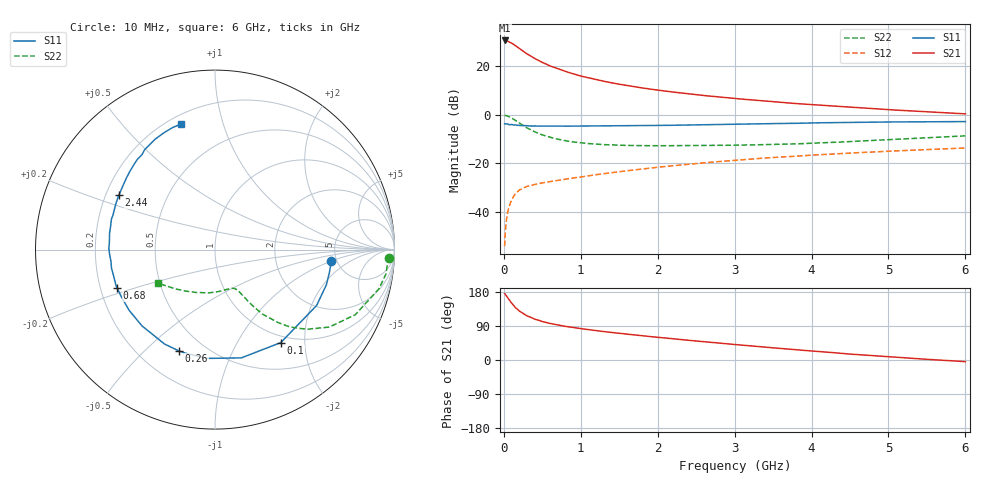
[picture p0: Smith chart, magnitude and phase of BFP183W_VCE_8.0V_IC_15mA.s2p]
! Infineon Technologies  Discrete & RF Semiconductors
! BFP183W
! VCE = 8.0 V,  IC =  15 mA
! Common Emitter S-Parameters:  Jan 2016
# GHz  S  MA  R  50
!  f  S11  S21  S12  S22
! GHz  MAG  ANG  MAG  ANG  MAG  ANG  MAG  ANG
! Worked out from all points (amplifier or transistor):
!   210 points, 10 MHz to 6 GHz, reference 50 ohm
!   highest |S21| = 30.5 dB at 10 MHz (marker M1)
!   |S21| within 3 dB of that: start of sweep to 188.5 MHz
!   unconditionally stable (mu >= 1): 1.215 GHz to 5.402 GHz
!   at 185 MHz: K = 0.27, MSG = 29.5 dB, |S12| = -31.4 dB
!   at 1.52 GHz: K = 1.07, MAG = 16.2 dB, |S12| = -23.3 dB
!   at 6 GHz: K = 0.97, MSG = 7.0 dB, |S12| = -13.6 dB
!   S11 on the Smith chart (normalised r, x): 10 MHz: 4.51, -1.00; 100 MHz: 0.89, -1.55; 260 MHz: 0.36, -0.64; 680 MHz: 0.27, -0.18; 2.44 GHz: 0.25, +0.25; 6 GHz: 0.25, +0.73
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0.01  0.6519 -5.6  33.59 175.3  0.002 89.3  0.9721 -2.6
0.02  0.6501 -11.7  33.45 173.2  0.004 86.2  0.9635 -5.4
0.03  0.6508 -17.6  33.33 170.2  0.0061 82.5  0.9621 -8.1
0.05  0.6461 -28.8  32.52 164.0  0.01 75.5  0.9403 -13.3
0.1  0.6346 -54.7  29.73 150.3  0.0177 66.5  0.8618 -24.9
0.15  0.6209 -76.3  26.39 138.4  0.024 58.4  0.7683 -34.2
0.2  0.6073 -93.6  23.07 129.4  0.0282 53.1  0.6791 -40.8
0.26  0.5993 -109.4  19.81 121.3  0.0317 48.1  0.5898 -46.4
0.3  0.5966 -118.1  17.86 116.6  0.0337 46.2  0.5387 -49.1
0.4  0.5884 -133.7  14.36 107.9  0.037 43.3  0.4473 -53.6
0.5  0.5859 -144.8  11.89 101.5  0.0399 42.8  0.3859 -55.8
0.6  0.5842 -153.2  10.1 96.5  0.0425 43.2  0.3441 -57.3
0.68  0.5856 -158.5  9.066 93.4  0.0443 43.8  0.3207 -58.0
0.8  0.5834 -165.1  7.74 88.8  0.0475 44.8  0.2928 -59.1
1.02  0.584 -174.2  6.141 82.4  0.0533 46.8  0.2634 -60.7
1.4  0.5918 173.7  4.532 72.7  0.0646 49.5  0.2402 -64.2
2.02  0.6033 158.7  3.181 59.5  0.0843 50.9  0.2312 -72.5
2.44  0.6155 150.5  2.646 51.3  0.0978 50.3  0.232 -79.6
3.1  0.6405 138.7  2.095 39.2  0.1195 48.2  0.2384 -92.6
4.1  0.6841 123.8  1.582 22.3  0.151 43.4  0.2637 -115.6
5.1  0.7123 112.6  1.247 7.3  0.1812 37.7  0.3142 -136.5
6  0.7245 105.2  1.045 -4.5  0.2078 32.7  0.3687 -149.7
